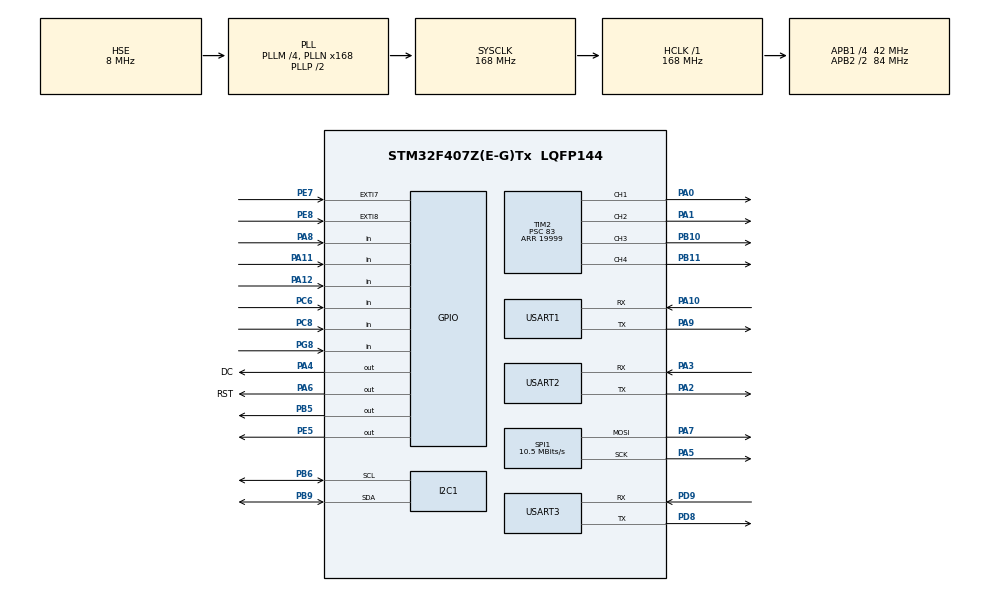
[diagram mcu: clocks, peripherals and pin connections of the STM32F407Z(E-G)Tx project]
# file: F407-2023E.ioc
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Dma.I2C1_TX.0.Direction=DMA_MEMORY_TO_PERIPH
Dma.I2C1_TX.0.FIFOMode=DMA_FIFOMODE_DISABLE
Dma.I2C1_TX.0.Instance=DMA1_Stream6
Dma.I2C1_TX.0.MemDataAlignment=DMA_MDATAALIGN_BYTE
Dma.I2C1_TX.0.MemInc=DMA_MINC_ENABLE
Dma.I2C1_TX.0.Mode=DMA_NORMAL
Dma.I2C1_TX.0.PeriphDataAlignment=DMA_PDATAALIGN_BYTE
Dma.I2C1_TX.0.PeriphInc=DMA_PINC_DISABLE
Dma.I2C1_TX.0.Priority=DMA_PRIORITY_LOW
Dma.Request0=I2C1_TX
Dma.Request1=SPI1_TX
Dma.SPI1_TX.1.Direction=DMA_MEMORY_TO_PERIPH
Dma.SPI1_TX.1.FIFOMode=DMA_FIFOMODE_DISABLE
Dma.SPI1_TX.1.Instance=DMA2_Stream3
Dma.SPI1_TX.1.MemDataAlignment=DMA_MDATAALIGN_HALFWORD
Dma.SPI1_TX.1.MemInc=DMA_MINC_ENABLE
Dma.SPI1_TX.1.Mode=DMA_NORMAL
Dma.SPI1_TX.1.PeriphDataAlignment=DMA_PDATAALIGN_HALFWORD
Dma.SPI1_TX.1.PeriphInc=DMA_PINC_DISABLE
Dma.SPI1_TX.1.Priority=DMA_PRIORITY_LOW
Mcu.Family=STM32F4
Mcu.Name=STM32F407Z(E-G)Tx
Mcu.Package=LQFP144
NVIC.DMA1_Stream6_IRQn=true\:0\:0\:false\:false\:true\:false\:true\:true
NVIC.DMA2_Stream3_IRQn=true\:0\:0\:false\:false\:true\:false\:true\:true
NVIC.EXTI9_5_IRQn=true\:0\:0\:false\:false\:true\:true\:true\:true
NVIC.PriorityGroup=NVIC_PRIORITYGROUP_4
NVIC.SPI1_IRQn=true\:0\:0\:false\:false\:true\:true\:true\:true
NVIC.TIM1_UP_TIM10_IRQn=true\:0\:0\:false\:false\:true\:true\:true\:true
NVIC.USART1_IRQn=true\:0\:0\:false\:false\:true\:true\:true\:true
NVIC.USART2_IRQn=true\:0\:0\:false\:false\:true\:true\:true\:true
NVIC.USART3_IRQn=true\:0\:0\:false\:false\:true\:true\:true\:true
PA0-WKUP.Signal=S_TIM2_CH1_ETR
PA1.Signal=S_TIM2_CH2
PA10.GPIO_PuPd=GPIO_PULLUP
PA10.Mode=Asynchronous
PA10.Signal=USART1_RX
PA11.GPIO_PuPd=GPIO_PULLDOWN
PA11.Signal=GPIO_Input
PA12.GPIO_Mode=GPIO_MODE_INPUT
PA12.GPIO_PuPd=GPIO_PULLDOWN
PA12.Signal=GPIO_Input
PA13.Mode=Serial_Wire
PA13.Signal=SYS_JTMS-SWDIO
PA14.Mode=Serial_Wire
PA14.Signal=SYS_JTCK-SWCLK
PA2.Mode=Asynchronous
PA2.Signal=USART2_TX
PA3.Mode=Asynchronous
PA3.Signal=USART2_RX
PA4.GPIO_Label=DC
PA4.Signal=GPIO_Output
PA5.Mode=TX_Only_Simplex_Unidirect_Master
PA5.Signal=SPI1_SCK
PA6.GPIO_Label=RST
PA6.Signal=GPIO_Output
PA7.Mode=TX_Only_Simplex_Unidirect_Master
PA7.Signal=SPI1_MOSI
PA8.GPIO_PuPd=GPIO_PULLDOWN
PA8.Signal=GPIO_Input
PA9.GPIO_PuPd=GPIO_PULLUP
PA9.Mode=Asynchronous
PA9.Signal=USART1_TX
PB10.Signal=S_TIM2_CH3
PB11.Signal=S_TIM2_CH4
PB5.Signal=GPIO_Output
PB6.Mode=I2C
PB6.Signal=I2C1_SCL
PB9.Mode=I2C
PB9.Signal=I2C1_SDA
PC6.GPIO_PuPd=GPIO_PULLDOWN
PC6.Signal=GPIO_Input
PC8.GPIO_PuPd=GPIO_PULLDOWN
PC8.Signal=GPIO_Input
PD8.Mode=Asynchronous
PD8.Signal=USART3_TX
PD9.Mode=Asynchronous
PD9.Signal=USART3_RX
PE5.Signal=GPIO_Output
PE7.GPIO_PuPd=GPIO_PULLDOWN
PE7.Signal=GPXTI7
PE8.GPIO_PuPd=GPIO_PULLDOWN
PE8.Signal=GPXTI8
PG8.GPIO_PuPd=GPIO_PULLDOWN
PG8.Signal=GPIO_Input
PH0-OSC_IN.Mode=HSE-External-Oscillator
PH0-OSC_IN.Signal=RCC_OSC_IN
PH1-OSC_OUT.Mode=HSE-External-Oscillator
PH1-OSC_OUT.Signal=RCC_OSC_OUT
ProjectManager.HeapSize=0x200
ProjectManager.StackSize=0x400
ProjectManager.TargetToolchain=MDK-ARM V5.32
RCC.48MHZClocksFreq_Value=84000000
RCC.AHBFreq_Value=168000000
RCC.APB1CLKDivider=RCC_HCLK_DIV4
RCC.APB1Freq_Value=42000000
RCC.APB1TimFreq_Value=84000000
RCC.APB2CLKDivider=RCC_HCLK_DIV2
RCC.APB2Freq_Value=84000000
RCC.APB2TimFreq_Value=168000000
RCC.CortexFreq_Value=168000000
RCC.HCLKFreq_Value=168000000
RCC.HSE_VALUE=8000000
RCC.HSI_VALUE=16000000
RCC.LSE_VALUE=32768
RCC.PLLM=4
RCC.PLLN=168
RCC.PLLSourceVirtual=RCC_PLLSOURCE_HSE
RCC.SYSCLKFreq_VALUE=168000000
RCC.SYSCLKSource=RCC_SYSCLKSOURCE_PLLCLK
RCC.VCOOutputFreq_Value=336000000
SH.S_TIM2_CH1_ETR.0=TIM2_CH1,PWM Generation1 CH1
SH.S_TIM2_CH2.0=TIM2_CH2,PWM Generation2 CH2
SH.S_TIM2_CH3.0=TIM2_CH3,PWM Generation3 CH3
SH.S_TIM2_CH4.0=TIM2_CH4,PWM Generation4 CH4
SPI1.BaudRatePrescaler=SPI_BAUDRATEPRESCALER_8
SPI1.CLKPhase=SPI_PHASE_2EDGE
SPI1.CLKPolarity=SPI_POLARITY_HIGH
SPI1.CalculateBaudRate=10.5 MBits/s
SPI1.Direction=SPI_DIRECTION_2LINES
SPI1.Mode=SPI_MODE_MASTER
SPI1.VirtualType=VM_MASTER
TIM1.Period=1000
TIM1.Prescaler=167
TIM2.AutoReloadPreload=TIM_AUTORELOAD_PRELOAD_ENABLE
TIM2.Channel-PWM\ Generation1\ CH1=TIM_CHANNEL_1
TIM2.Channel-PWM\ Generation2\ CH2=TIM_CHANNEL_2
TIM2.Channel-PWM\ Generation3\ CH3=TIM_CHANNEL_3
TIM2.Channel-PWM\ Generation4\ CH4=TIM_CHANNEL_4
TIM2.Period=19999
TIM2.Prescaler=83
USART1.VirtualMode=VM_ASYNC
USART2.VirtualMode=VM_ASYNC
USART3.VirtualMode=VM_ASYNC
VP_TIM1_VS_ClockSourceINT.Mode=Internal
board=custom

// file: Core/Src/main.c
/* USER CODE BEGIN Header */
/**
  ******************************************************************************
  * @file           : main.c
  * @brief          : Main program body
  ******************************************************************************
  * @attention
  *
  * Copyright (c) 2025 STMicroelectronics.
  * All rights reserved.
  *
  * This software is licensed under terms that can be found in the LICENSE file
  * in the root directory of this software component.
  * If no LICENSE file comes with this software, it is provided AS-IS.
  *
  ******************************************************************************
  */
/* USER CODE END Header */
#include "main.h"
#include "dma.h"
#include "i2c.h"
#include "spi.h"
#include "tim.h"
#include "usart.h"
#include "gpio.h"

/* USER CODE BEGIN Includes */
#include <stm32f407xx.h>
#include "PID.h"
#include "func.h"
#include "tft.h"
#include "fonts.h"
/* USER CODE END Includes */

void SystemClock_Config(void);

/* USER CODE BEGIN 0 */
int mode=0;
int NVIC_flag=0;
int stopflag=0;
int Timer_counter=0;
int dif[2]={0};
int dif_dot[2]={0};
int rotation_green[2]={1100,700};
int rotation_red[2]={1700,900};
UART_X UART_cam={0},UART_PC={0},UART_Mot={0}; //串口缓冲区结构体
void delay_us(uint32_t nus)
{
 uint32_t temp;
 SysTick->LOAD = 10*nus;
 SysTick->VAL=0X00;
 SysTick->CTRL=0X01;
 do
 {
  temp=SysTick->CTRL;
 }while((temp&0x01)&&(!(temp&(1<<16))));
     SysTick->CTRL=0x00;
    SysTick->VAL =0X00;
}

//毫秒延时
void delay_ms(uint16_t nms)
{
 uint32_t temp;
 SysTick->LOAD = 9000*nms;
 SysTick->VAL=0X00;
 SysTick->CTRL=0X01;
 do
 {
  temp=SysTick->CTRL;
 }while((temp&0x01)&&(!(temp&(1<<16))));
    SysTick->CTRL=0x00;
    SysTick->VAL =0X00;
}

void HAL_TIM_PeriodElapsedCallback(TIM_HandleTypeDef *htim)//1ms计时�? pid运算�?
{

	if(htim->Instance == TIM1)
	{
		Timer_counter++;
	}

}
/*
  UART1--电脑通信
  UART2--树莓派�?�信
  UART3没用
*/
void HAL_UART_RxCpltCallback(UART_HandleTypeDef *huart)//串口回调
{
  UART_X *UART_temp = NULL;
  if (huart->Instance == USART2)
    UART_temp = &UART_cam;
  else if (huart->Instance == USART1)
    UART_temp = &UART_PC;
  else if (huart->Instance == USART3)
    UART_temp = &UART_Mot;

  char temp = UART_temp->IQR_buffer;
  if (temp == '!')
  {
    UART_temp->RxFlag = 1;
    UART_temp->buffer[UART_temp->buffer_pi] = '!';
    UART_temp->buffer[++UART_temp->buffer_pi] = '\0';
    UART_temp->buffer_pi = 0;
  }
  else if (temp == '#'){
    UART_temp->buffer[0] = '#';
    UART_temp->buffer_pi = 1;
  }
  else
  {
    UART_temp->buffer[UART_temp->buffer_pi] = temp;
    UART_temp->buffer_pi++;

  }
  if (UART_temp->buffer_pi > BUFFER_SIZE-2)
    {
      UART_temp->buffer_pi = 0;
    }
  HAL_UART_Receive_IT(huart, (uint8_t *)&UART_temp->IQR_buffer, 1);
}
void HAL_GPIO_EXTI_Callback(uint16_t GPIO_Pin)
{
	if(GPIO_Pin==GPIO_PIN_7&&NVIC_flag==1)
	{
    if(mode==0||mode==1){
      if(stopflag==0){
        stopflag=1;
        char str_ssd[20]="STOP   ";
        Screen_show_string(str_ssd,20,210,Font_16x26,RED,1);
        rotation_red[0]=1700;
        rotation_red[1]=900;

        __HAL_TIM_SET_COMPARE(&htim2,TIM_CHANNEL_3,rotation_red[0]);
        __HAL_TIM_SET_COMPARE(&htim2,TIM_CHANNEL_4,rotation_red[1]);

      }
      else{
        stopflag=0;
        char str_ssd[20]="Actived";
        Screen_show_string(str_ssd,20,210,Font_16x26,GREEN,1);

      }
    }
    if(mode==2){
      if(stopflag==0){
        stopflag=1;
        char str_ssd[20]="STOP    ";
        Screen_show_string(str_ssd,20,210,Font_16x26,RED,1);
      }
      else{
        stopflag=0;
        char str_ssd[20]="Actived";
        Screen_show_string(str_ssd,20,210,Font_16x26,GREEN,1);

      }
    }

	}
  if(GPIO_Pin==GPIO_PIN_8&&NVIC_flag==1)
	{
    char string1[4]="R";
    //TFT_full_color(RED);
    HAL_UART_Transmit(&huart2,string1,strlen(string1),1000);
	}

  delay_ms(2000);
}
/* USER CODE END 0 */

int main(void)
{

  /* MCU Configuration--------------------------------------------------------*/

  /* Reset of all peripherals, Initializes the Flash interface and the Systick. */
  HAL_Init();

  /* Configure the system clock */
  SystemClock_Config();

  /* Initialize all configured peripherals */
  MX_GPIO_Init();
  MX_DMA_Init();
  MX_TIM1_Init();
  MX_TIM2_Init();
  MX_USART2_UART_Init();
  MX_USART3_UART_Init();
  MX_I2C1_Init();
  MX_SPI1_Init();
  MX_USART1_UART_Init();
  /* USER CODE BEGIN 2 */
  HAL_UART_Receive_IT(&huart3, (uint8_t *)&UART_Mot.IQR_buffer, 1);
  HAL_UART_Receive_IT(&huart1, (uint8_t *)&UART_PC.IQR_buffer, 1);
  HAL_UART_Receive_IT(&huart2, (uint8_t *)&UART_cam.IQR_buffer, 1);
  HAL_TIM_Base_Start_IT(&htim1);
  HAL_TIM_PWM_Start(&htim2,TIM_CHANNEL_1);
  HAL_TIM_PWM_Start(&htim2,TIM_CHANNEL_2);
  HAL_TIM_PWM_Start(&htim2,TIM_CHANNEL_3);
  HAL_TIM_PWM_Start(&htim2,TIM_CHANNEL_4);

  __HAL_TIM_SET_COMPARE(&htim2,TIM_CHANNEL_3,rotation_red[0]);
  __HAL_TIM_SET_COMPARE(&htim2,TIM_CHANNEL_4,rotation_red[1]);
  __HAL_TIM_SET_COMPARE(&htim2,TIM_CHANNEL_1,rotation_green[0]);
  __HAL_TIM_SET_COMPARE(&htim2,TIM_CHANNEL_2,rotation_green[1]);
  HAL_GPIO_WritePin(GPIOE,GPIO_PIN_5,GPIO_PIN_SET);
  HAL_GPIO_WritePin(GPIOB,GPIO_PIN_5,GPIO_PIN_SET);
  int calcu_flag=0;

  tft_init();
  TFT_full_color(BLACK);
  char str_ssd[20]="Actived";
  Screen_show_string(str_ssd,20,210,Font_16x26,GREEN,1);
  char str_ssd12[20]="MODE 0";
  Screen_show_string(str_ssd12,20,170,Font_16x26,YELLOW,1);
  //HAL_Delay(200);
  NVIC_flag=1;

  draw(0);
  // Screen_show_char('^',70,100,Font_11x18,RED,1);
  // Screen_show_char('<',120,10,Font_11x18,GREEN,1);
  // while(1){
  //   button_check();
  // }
  /* USER CODE END 2 */

  /* Infinite loop */
  /* USER CODE BEGIN WHILE */
  while (1)
  {
    /*
    前部分内容时解析串口数据
    串口数据格式�? #M X Y!
    M代表解析模式 1�?2�?3�?4�?5
    XY分别为整数型数据
    */
    if (UART_Mot.RxFlag == 1)
    {
      UART_Mot.RxFlag = 0;
      HAL_UART_Transmit(&huart2, (uint8_t *)UART_Mot.buffer, strlen(UART_Mot.buffer), 1000);
    }
    if (UART_PC.RxFlag == 1)
    {
      UART_PC.RxFlag = 0;
      int buffer,temp;
      sscanf(UART_PC.buffer, " #%d %d!",&temp,&buffer);
      switch (temp)
      {

      case 1://case 1--case 4均用于debug调试舵机旋转角度 #1 x y!格式
        rotation_red[0] = buffer;
       break;
      case 2:
        rotation_red[1] = buffer;
        break;
      case 3:
        rotation_green[0] = buffer;
        break;
      case 4:
        rotation_green[1] = buffer;
        break;
      case 5://切换模式 格式 #5 x! x代表模式�?
        char buffer123='R';
        HAL_UART_Transmit(&huart2,&buffer123,1,1000);//告诉opencv重新寻找矩形
        mode=buffer;
        switch (mode)
        {
        case 0:
          char str_ssd1[20]="MODE 0";
          Screen_show_string(str_ssd1,20,170,Font_16x26,YELLOW,1);
          break;
        case 1:
          char str_ssd2[20]="MODE 1";
          Screen_show_string(str_ssd2,20,170,Font_16x26,YELLOW,1);
          break;
        case 2:
          char str_ssd3[20]="MODE 2";
          Screen_show_string(str_ssd3,20,170,Font_16x26,YELLOW,1);
          break;
        default:
          break;
        }
        char a[2]=0;
        sprintf(a,"%d",mode);
        HAL_UART_Transmit(&huart2,a,1,1000);
        rotation_red[0]=1700;
        rotation_red[1]=900;
        __HAL_TIM_SET_COMPARE(&htim2,TIM_CHANNEL_3,rotation_red[0]);
        __HAL_TIM_SET_COMPARE(&htim2,TIM_CHANNEL_4,rotation_red[1]);

        rotation_green[0]=1100;
        rotation_green[1]=700;
        __HAL_TIM_SET_COMPARE(&htim2,TIM_CHANNEL_1,rotation_green[0]);
        __HAL_TIM_SET_COMPARE(&htim2,TIM_CHANNEL_2,rotation_green[1]);
        break;
      case 6://告诉opencv重新寻找矩形
        rotation_red[0]=1700;
        rotation_red[1]=900;
        __HAL_TIM_SET_COMPARE(&htim2,TIM_CHANNEL_3,rotation_red[0]);
        __HAL_TIM_SET_COMPARE(&htim2,TIM_CHANNEL_4,rotation_red[1]);

        rotation_green[0]=1100;
        rotation_green[1]=700;
        __HAL_TIM_SET_COMPARE(&htim2,TIM_CHANNEL_1,rotation_green[0]);
        __HAL_TIM_SET_COMPARE(&htim2,TIM_CHANNEL_2,rotation_green[1]);
        char buffer1='R';
        HAL_UART_Transmit(&huart2,&buffer1,1,1000);
        break;
      default:
        break;
      }
      draw(0);
    }
    if (UART_cam.RxFlag == 1){//解析opencv数据
      UART_cam.RxFlag = 0;
      //HAL_UART_Transmit(&huart1, (uint8_t *)UART_cam.buffer, strlen(UART_cam.buffer), 1000);
      if(UART_cam.buffer[1]=='a'){
        sscanf(UART_cam.buffer, " #a%d %d!",&dif[1],&dif[0]);
        calcu_flag=1;
      }else if(UART_cam.buffer[1]=='b'){
        sscanf(UART_cam.buffer, " #b%d %d!",&dif_dot[1],&dif_dot[0]);
      }

    }
begin:
    if(mode==0&&stopflag==0){//沿着铅笔框走
      rotation_red[0]=1500;
      rotation_red[1]=710;
      if(stopflag==1)
        goto begin;
      __HAL_TIM_SET_COMPARE(&htim2,TIM_CHANNEL_3,rotation_red[0]);
      __HAL_TIM_SET_COMPARE(&htim2,TIM_CHANNEL_4,rotation_red[1]);
      delay_ms(800);
      rotation_red[0]=1500;
      rotation_red[1]=1070;
      if(stopflag==1)
        goto begin;
      __HAL_TIM_SET_COMPARE(&htim2,TIM_CHANNEL_3,rotation_red[0]);
      __HAL_TIM_SET_COMPARE(&htim2,TIM_CHANNEL_4,rotation_red[1]);
      delay_ms(800);
      rotation_red[0]=1900;
      rotation_red[1]=1070;
      if(stopflag==1)
        goto begin;
      __HAL_TIM_SET_COMPARE(&htim2,TIM_CHANNEL_3,rotation_red[0]);
      __HAL_TIM_SET_COMPARE(&htim2,TIM_CHANNEL_4,rotation_red[1]);
      delay_ms(800);
      rotation_red[0]=1900;
      rotation_red[1]=710;
      if(stopflag==1)
        goto begin;
      __HAL_TIM_SET_COMPARE(&htim2,TIM_CHANNEL_3,rotation_red[0]);
      __HAL_TIM_SET_COMPARE(&htim2,TIM_CHANNEL_4,rotation_red[1]);
      delay_ms(800);
    }
    // __HAL_TIM_SET_COMPARE(&htim2,TIM_CHANNEL_1,rotation_green[0]);
    // __HAL_TIM_SET_COMPARE(&htim2,TIM_CHANNEL_2,rotation_green[1]);

    if(Timer_counter>=CYCLE_TIME&&stopflag==0&&mode==1){//红色�?光循�?
      Timer_counter=0;
      calcu(dif,rotation_red,&PID_red);
      dif[0]=0;
      dif[1]=0;
      __HAL_TIM_SET_COMPARE(&htim2,TIM_CHANNEL_3,rotation_red[0]);
      __HAL_TIM_SET_COMPARE(&htim2,TIM_CHANNEL_4,rotation_red[1]);
     // HAL_UART_Transmit(&huart1, (uint8_t *)buffer, strlen(buffer), 1000);
      //sprintf(sprintf_buffer, "%d %d \n", rotation[0], rotation[1]);
    }
    if(Timer_counter>=CYCLE_TIME&&stopflag==0&&mode==2){//绿色�?光跟随红色激�?
      Timer_counter=0;
      calcu(dif,rotation_red,&PID_red);
      calcu(dif_dot,rotation_green,&PID_green);
      char buffer[30];
      sprintf(buffer,"%d %d %d %d",rotation_red[0],rotation_red[1],dif[0],dif[1]);
      dif[0]=0;
      dif[1]=0;
      dif_dot[0]=0;
      dif_dot[1]=0;
      __HAL_TIM_SET_COMPARE(&htim2,TIM_CHANNEL_1,rotation_green[0]);
      __HAL_TIM_SET_COMPARE(&htim2,TIM_CHANNEL_2,rotation_green[1]);
      __HAL_TIM_SET_COMPARE(&htim2,TIM_CHANNEL_3,rotation_red[0]);
      __HAL_TIM_SET_COMPARE(&htim2,TIM_CHANNEL_4,rotation_red[1]);
     // HAL_UART_Transmit(&huart1, (uint8_t *)buffer, strlen(buffer), 1000);
      //sprintf(sprintf_buffer, "%d %d \n", rotation[0], rotation[1]);
    }

    /* USER CODE END WHILE */

  }
}

void SystemClock_Config(void)
{
  RCC_OscInitTypeDef RCC_OscInitStruct = {0};
  RCC_ClkInitTypeDef RCC_ClkInitStruct = {0};

  /** Configure the main internal regulator output voltage
  */
  __HAL_RCC_PWR_CLK_ENABLE();
  __HAL_PWR_VOLTAGESCALING_CONFIG(PWR_REGULATOR_VOLTAGE_SCALE1);

  /** Initializes the RCC Oscillators according to the specified parameters
  * in the RCC_OscInitTypeDef structure.
  */
  RCC_OscInitStruct.OscillatorType = RCC_OSCILLATORTYPE_HSE;
  RCC_OscInitStruct.HSEState = RCC_HSE_ON;
  RCC_OscInitStruct.PLL.PLLState = RCC_PLL_ON;
  RCC_OscInitStruct.PLL.PLLSource = RCC_PLLSOURCE_HSE;
  RCC_OscInitStruct.PLL.PLLM = 4;
  RCC_OscInitStruct.PLL.PLLN = 168;
  RCC_OscInitStruct.PLL.PLLP = RCC_PLLP_DIV2;
  RCC_OscInitStruct.PLL.PLLQ = 4;
  if (HAL_RCC_OscConfig(&RCC_OscInitStruct) != HAL_OK)
  {
    Error_Handler();
  }

  /** Initializes the CPU, AHB and APB buses clocks
  */
  RCC_ClkInitStruct.ClockType = RCC_CLOCKTYPE_HCLK|RCC_CLOCKTYPE_SYSCLK
                              |RCC_CLOCKTYPE_PCLK1|RCC_CLOCKTYPE_PCLK2;
  RCC_ClkInitStruct.SYSCLKSource = RCC_SYSCLKSOURCE_PLLCLK;
  RCC_ClkInitStruct.AHBCLKDivider = RCC_SYSCLK_DIV1;
  RCC_ClkInitStruct.APB1CLKDivider = RCC_HCLK_DIV4;
  RCC_ClkInitStruct.APB2CLKDivider = RCC_HCLK_DIV2;

  if (HAL_RCC_ClockConfig(&RCC_ClkInitStruct, FLASH_LATENCY_5) != HAL_OK)
  {
    Error_Handler();
  }
}

void Error_Handler(void)
{
  __disable_irq();
  while (1)
  {
  }
}
